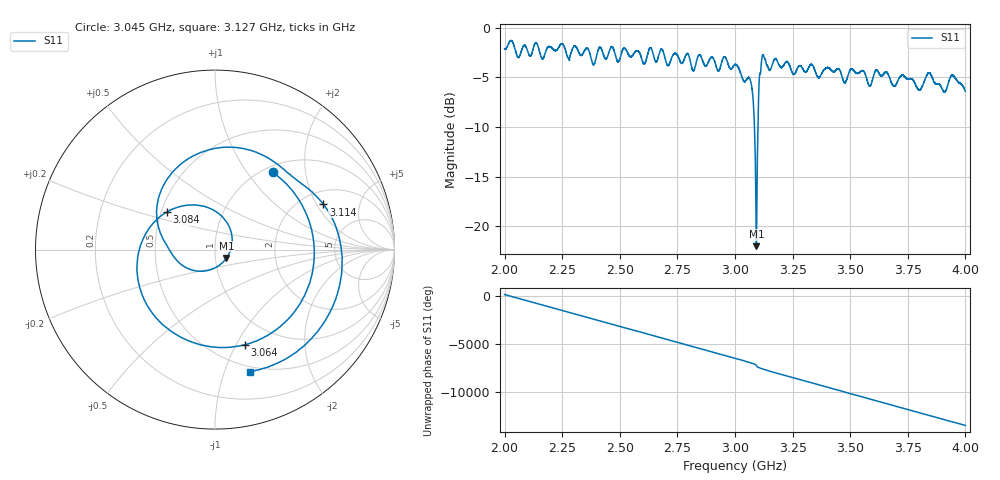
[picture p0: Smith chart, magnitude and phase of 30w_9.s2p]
!Agilent Technologies,E8362B,MY43021131,A.07.50.67
!Agilent E8362B: A.07.50.67
!Date: Thursday, March 14, 2024 15:02:16
!Correction: S11(Off)
!S21(Off)
!S12(Off)
!S22(Off)
!S2P File: Measurements: S11, S21, S12, S22:
# Hz S  RI  R 50
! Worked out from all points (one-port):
!   20001 points, 2 GHz to 4 GHz, reference 50 ohm
!   lowest |S11| = -22.0 dB at 3.093 GHz (marker M1), VSWR 1.17, Z = 56.6 - j5.35 ohm
!   |S11| at or under -10 dB: 3.084712 GHz to 3.099786 GHz (15.07 MHz wide, 0.487 % of centre)
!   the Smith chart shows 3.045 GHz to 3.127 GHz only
!   S11 on the Smith chart (normalised r, x): 3.045 GHz: 1.10, +1.33; 3.064 GHz: 0.71, -1.09; 3.084 GHz: 0.54, +0.25; 3.114 GHz: 2.60, +2.29; 3.127 GHz: 0.45, -1.23
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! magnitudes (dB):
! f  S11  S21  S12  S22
! 2 GHz  -2.1  -  -  -
! 2.333 GHz  -2.8  -  -  -
! 2.667 GHz  -3.0  -  -  -
! 3 GHz  -3.7  -  -  -
! 3.045 GHz  -5.4  -  -  -
! 3.064 GHz  -5.1  -  -  -
! 3.076 GHz  -6.6  -  -  -
! 3.084 GHz  -9.4  -  -  -
! 3.093 GHz  -22.0  -  -  -
! 3.114 GHz  -3.7  -  -  -
! 3.127 GHz  -3.0  -  -  -
! 3.255 GHz  -4.7  -  -  -
! 3.333 GHz  -3.7  -  -  -
! 3.476 GHz  -5.5  -  -  -
! 3.507 GHz  -4.1  -  -  -
! 3.584 GHz  -5.9  -  -  -
! 3.667 GHz  -4.8  -  -  -
! 3.8 GHz  -6.3  -  -  -
! 3.843 GHz  -4.5  -  -  -
! 3.909 GHz  -6.5  -  -  -
! 3.946 GHz  -4.8  -  -  -
! 4 GHz  -6.4  -  -  -
